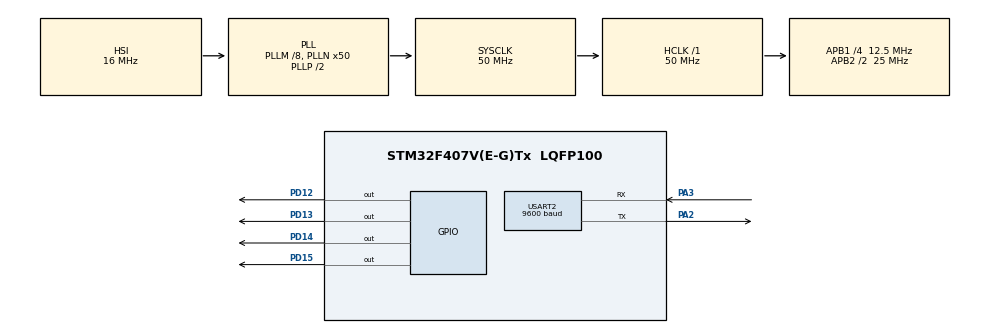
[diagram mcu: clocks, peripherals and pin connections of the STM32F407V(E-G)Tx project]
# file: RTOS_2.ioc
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Dma.Request0=USART2_RX
Dma.USART2_RX.0.Direction=DMA_PERIPH_TO_MEMORY
Dma.USART2_RX.0.FIFOMode=DMA_FIFOMODE_DISABLE
Dma.USART2_RX.0.Instance=DMA1_Stream5
Dma.USART2_RX.0.MemDataAlignment=DMA_MDATAALIGN_BYTE
Dma.USART2_RX.0.MemInc=DMA_MINC_ENABLE
Dma.USART2_RX.0.Mode=DMA_NORMAL
Dma.USART2_RX.0.PeriphDataAlignment=DMA_PDATAALIGN_BYTE
Dma.USART2_RX.0.PeriphInc=DMA_PINC_DISABLE
Dma.USART2_RX.0.Priority=DMA_PRIORITY_LOW
Mcu.Family=STM32F4
Mcu.Name=STM32F407V(E-G)Tx
Mcu.Package=LQFP100
NVIC.DMA1_Stream5_IRQn=true\:0\:0\:false\:false\:true\:false\:true\:true
NVIC.PriorityGroup=NVIC_PRIORITYGROUP_4
NVIC.TIM1_UP_TIM10_IRQn=true\:0\:0\:false\:false\:true\:false\:true\:true
NVIC.TimeBase=TIM1_UP_TIM10_IRQn
NVIC.TimeBaseIP=TIM1
PA2.Mode=Asynchronous
PA2.Signal=USART2_TX
PA3.Mode=Asynchronous
PA3.Signal=USART2_RX
PD12.Signal=GPIO_Output
PD13.Signal=GPIO_Output
PD14.Signal=GPIO_Output
PD15.Signal=GPIO_Output
ProjectManager.HeapSize=0x200
ProjectManager.StackSize=0x400
ProjectManager.TargetToolchain=STM32CubeIDE
RCC.48MHZClocksFreq_Value=14285714.285714285
RCC.AHBFreq_Value=50000000
RCC.APB1CLKDivider=RCC_HCLK_DIV4
RCC.APB1Freq_Value=12500000
RCC.APB1TimFreq_Value=25000000
RCC.APB2CLKDivider=RCC_HCLK_DIV2
RCC.APB2Freq_Value=25000000
RCC.APB2TimFreq_Value=50000000
RCC.CortexFreq_Value=50000000
RCC.HCLKFreq_Value=50000000
RCC.HSE_VALUE=8000000
RCC.HSI_VALUE=16000000
RCC.LSE_VALUE=32768
RCC.PLLM=8
RCC.PLLN=50
RCC.PLLQ=7
RCC.SYSCLKFreq_VALUE=50000000
RCC.SYSCLKSource=RCC_SYSCLKSOURCE_PLLCLK
RCC.VCOOutputFreq_Value=100000000
USART2.BaudRate=9600
USART2.VirtualMode=VM_ASYNC
VP_SYS_VS_tim1.Mode=TIM1
board=STM32F407G-DISC1

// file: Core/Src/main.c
/* USER CODE BEGIN Header */
/**
  ******************************************************************************
  * @file           : main.c
  * @brief          : Main program body
  ******************************************************************************
  * @attention
  *
  * Copyright (c) 2024 STMicroelectronics.
  * All rights reserved.
  *
  * This software is licensed under terms that can be found in the LICENSE file
  * in the root directory of this software component.
  * If no LICENSE file comes with this software, it is provided AS-IS.
  *
  ******************************************************************************
  */
/* USER CODE END Header */
#include "main.h"

/* USER CODE BEGIN Includes */
#include "FreeRTOS.h"
#include  "FreeRTOSConfig.h"
#include "task.h"
#include<string.h>
/* USER CODE END Includes */

UART_HandleTypeDef huart2;
DMA_HandleTypeDef hdma_usart2_rx;

void SystemClock_Config(void);
static void MX_GPIO_Init(void);
static void MX_DMA_Init(void);
static void MX_USART2_UART_Init(void);
char txData[30]= "hello world\r\n";

/* USER CODE BEGIN 0 */
void vAperiodicTask(void *pvParam)
{
	while(1)
	{
		HAL_GPIO_TogglePin(GPIOD, GPIO_PIN_13);
		vTaskDelay(1000 / portTICK_RATE_MS);
		  HAL_UART_Transmit(&huart2, (uint8_t *)txData, strlen(txData), 10);
		  HAL_Delay(500);
	}
	vTaskDelete(NULL);
}

void vPeriodicTask(void *pvParam)
{
	portTickType wakeupTime = xTaskGetTickCount();
	while(1)
	{
		HAL_GPIO_TogglePin(GPIOD, GPIO_PIN_14);
		vTaskDelayUntil(&wakeupTime ,1000 / portTICK_RATE_MS);
		  HAL_UART_Transmit(&huart2, (uint8_t *)txData, strlen(txData), 10);
		  HAL_Delay(500);
	}
	vTaskDelete(NULL);
}

/* USER CODE END 0 */

int main(void)
{

  /* USER CODE BEGIN 1 */
	BaseType_t ret;
  /* USER CODE END 1 */

  /* MCU Configuration--------------------------------------------------------*/

  /* Reset of all peripherals, Initializes the Flash interface and the Systick. */
  HAL_Init();

  /* Configure the system clock */
  SystemClock_Config();

  /* Initialize all configured peripherals */
  MX_GPIO_Init();
  MX_DMA_Init();
  MX_USART2_UART_Init();
  /* USER CODE BEGIN 2 */
  ret = xTaskCreate(vPeriodicTask, "Periodic", configMINIMAL_STACK_SIZE, NULL, 2, NULL);
    if(ret != pdTRUE)
  	  Error_Handler();
    ret = xTaskCreate(vAperiodicTask, "Aperiodic", configMINIMAL_STACK_SIZE, NULL, 2, NULL);
    if(ret != pdTRUE)
    	  Error_Handler();

    vTaskStartScheduler();

  /* USER CODE END 2 */

  /* Infinite loop */
  while (1)
  {

  }
}

void SystemClock_Config(void)
{
  RCC_OscInitTypeDef RCC_OscInitStruct = {0};
  RCC_ClkInitTypeDef RCC_ClkInitStruct = {0};

  /** Configure the main internal regulator output voltage
  */
  __HAL_RCC_PWR_CLK_ENABLE();
  __HAL_PWR_VOLTAGESCALING_CONFIG(PWR_REGULATOR_VOLTAGE_SCALE1);

  /** Initializes the RCC Oscillators according to the specified parameters
  * in the RCC_OscInitTypeDef structure.
  */
  RCC_OscInitStruct.OscillatorType = RCC_OSCILLATORTYPE_HSI;
  RCC_OscInitStruct.HSIState = RCC_HSI_ON;
  RCC_OscInitStruct.HSICalibrationValue = RCC_HSICALIBRATION_DEFAULT;
  RCC_OscInitStruct.PLL.PLLState = RCC_PLL_ON;
  RCC_OscInitStruct.PLL.PLLSource = RCC_PLLSOURCE_HSI;
  RCC_OscInitStruct.PLL.PLLM = 8;
  RCC_OscInitStruct.PLL.PLLN = 50;
  RCC_OscInitStruct.PLL.PLLP = RCC_PLLP_DIV2;
  RCC_OscInitStruct.PLL.PLLQ = 7;
  if (HAL_RCC_OscConfig(&RCC_OscInitStruct) != HAL_OK)
  {
    Error_Handler();
  }

  /** Initializes the CPU, AHB and APB buses clocks
  */
  RCC_ClkInitStruct.ClockType = RCC_CLOCKTYPE_HCLK|RCC_CLOCKTYPE_SYSCLK
                              |RCC_CLOCKTYPE_PCLK1|RCC_CLOCKTYPE_PCLK2;
  RCC_ClkInitStruct.SYSCLKSource = RCC_SYSCLKSOURCE_PLLCLK;
  RCC_ClkInitStruct.AHBCLKDivider = RCC_SYSCLK_DIV1;
  RCC_ClkInitStruct.APB1CLKDivider = RCC_HCLK_DIV4;
  RCC_ClkInitStruct.APB2CLKDivider = RCC_HCLK_DIV2;

  if (HAL_RCC_ClockConfig(&RCC_ClkInitStruct, FLASH_LATENCY_1) != HAL_OK)
  {
    Error_Handler();
  }
}

static void MX_USART2_UART_Init(void)
{

  huart2.Instance = USART2;
  huart2.Init.BaudRate = 9600;
  huart2.Init.WordLength = UART_WORDLENGTH_8B;
  huart2.Init.StopBits = UART_STOPBITS_1;
  huart2.Init.Parity = UART_PARITY_NONE;
  huart2.Init.Mode = UART_MODE_TX_RX;
  huart2.Init.HwFlowCtl = UART_HWCONTROL_NONE;
  huart2.Init.OverSampling = UART_OVERSAMPLING_16;
  if (HAL_UART_Init(&huart2) != HAL_OK)
  {
    Error_Handler();
  }

}

static void MX_DMA_Init(void)
{

  /* DMA controller clock enable */
  __HAL_RCC_DMA1_CLK_ENABLE();

  /* DMA interrupt init */
  /* DMA1_Stream5_IRQn interrupt configuration */
  HAL_NVIC_SetPriority(DMA1_Stream5_IRQn, 0, 0);
  HAL_NVIC_EnableIRQ(DMA1_Stream5_IRQn);

}

static void MX_GPIO_Init(void)
{
  GPIO_InitTypeDef GPIO_InitStruct = {0};

  /* GPIO Ports Clock Enable */
  __HAL_RCC_GPIOA_CLK_ENABLE();
  __HAL_RCC_GPIOD_CLK_ENABLE();

  /*Configure GPIO pin Output Level */
  HAL_GPIO_WritePin(GPIOD, GPIO_PIN_12|GPIO_PIN_13|GPIO_PIN_14|GPIO_PIN_15, GPIO_PIN_RESET);

  /*Configure GPIO pins : PD12 PD13 PD14 PD15 */
  GPIO_InitStruct.Pin = GPIO_PIN_12|GPIO_PIN_13|GPIO_PIN_14|GPIO_PIN_15;
  GPIO_InitStruct.Mode = GPIO_MODE_OUTPUT_PP;
  GPIO_InitStruct.Pull = GPIO_NOPULL;
  GPIO_InitStruct.Speed = GPIO_SPEED_FREQ_LOW;
  HAL_GPIO_Init(GPIOD, &GPIO_InitStruct);

}

void HAL_TIM_PeriodElapsedCallback(TIM_HandleTypeDef *htim)
{
  if (htim->Instance == TIM1) {
    HAL_IncTick();
  }
}

void Error_Handler(void)
{
  __disable_irq();
  while (1)
  {
  }
}
